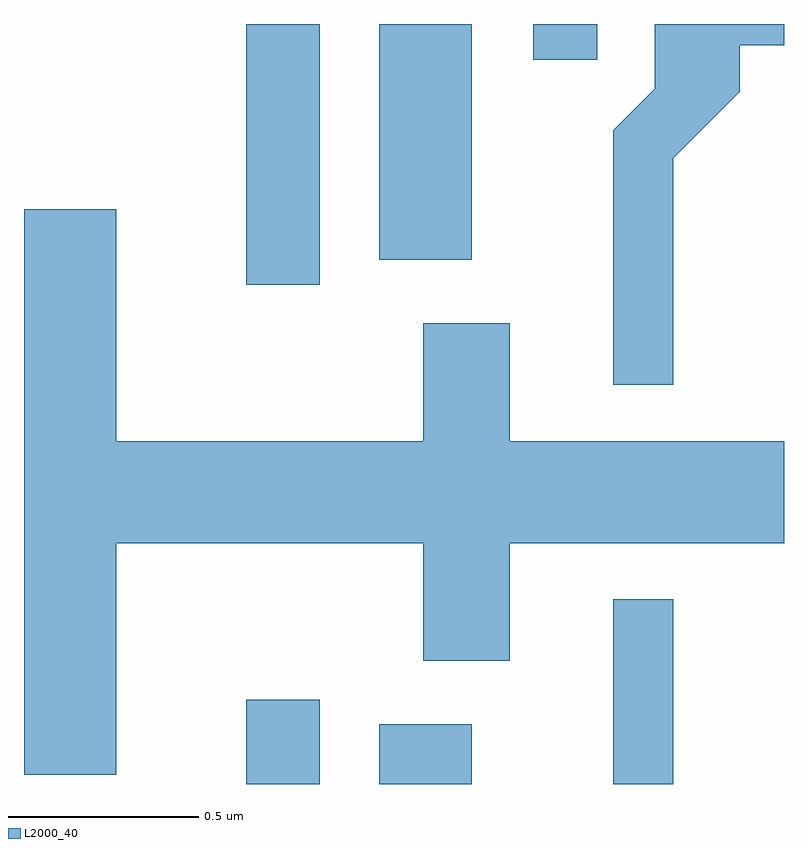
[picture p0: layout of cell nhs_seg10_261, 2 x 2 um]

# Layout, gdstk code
import gdstk
lib = gdstk.Library(unit=1e-6, precision=1e-09)
def R(c, l, rs):  # rectangles x0, y0, x1, y1
    for r in rs: c.add(gdstk.rectangle(r[:2], r[2:], *l))
def P(c, l, *ps):  # polygons
    for p in ps: c.add(gdstk.Polygon(p, *l))
L2000_40 = (2000, 40)

nhs_seg10_261 = lib.new_cell('nhs_seg10_261')
R(nhs_seg10_261, L2000_40, [(187.196,2206.522,187.389,2206.744), (187.546,2206.522,187.789,2206.679), (188.161,2206.522,188.319,2207.008), (187.196,2207.836,187.389,2208.522), (187.546,2207.901,187.789,2208.522), (187.951,2208.428,188.119,2208.522)])
P(nhs_seg10_261, L2000_40, [(188.319,2208.169),(188.494,2208.344),(188.494,2208.466),(188.611,2208.466),(188.611,2208.522),(188.271,2208.522),(188.271,2208.352),(188.161,2208.242),(188.161,2207.573),(188.319,2207.573)],
  [(186.854,2207.156),(187.661,2207.156),(187.661,2206.846),(187.889,2206.846),(187.889,2207.156),(188.611,2207.156),(188.611,2207.424),(187.889,2207.424),(187.889,2207.734),(187.661,2207.734),(187.661,2207.424),(186.854,2207.424),(186.854,2208.034),(186.611,2208.034),(186.611,2206.546),(186.854,2206.546)])

lib.write_gds('nhs_seg10_261.gds')
